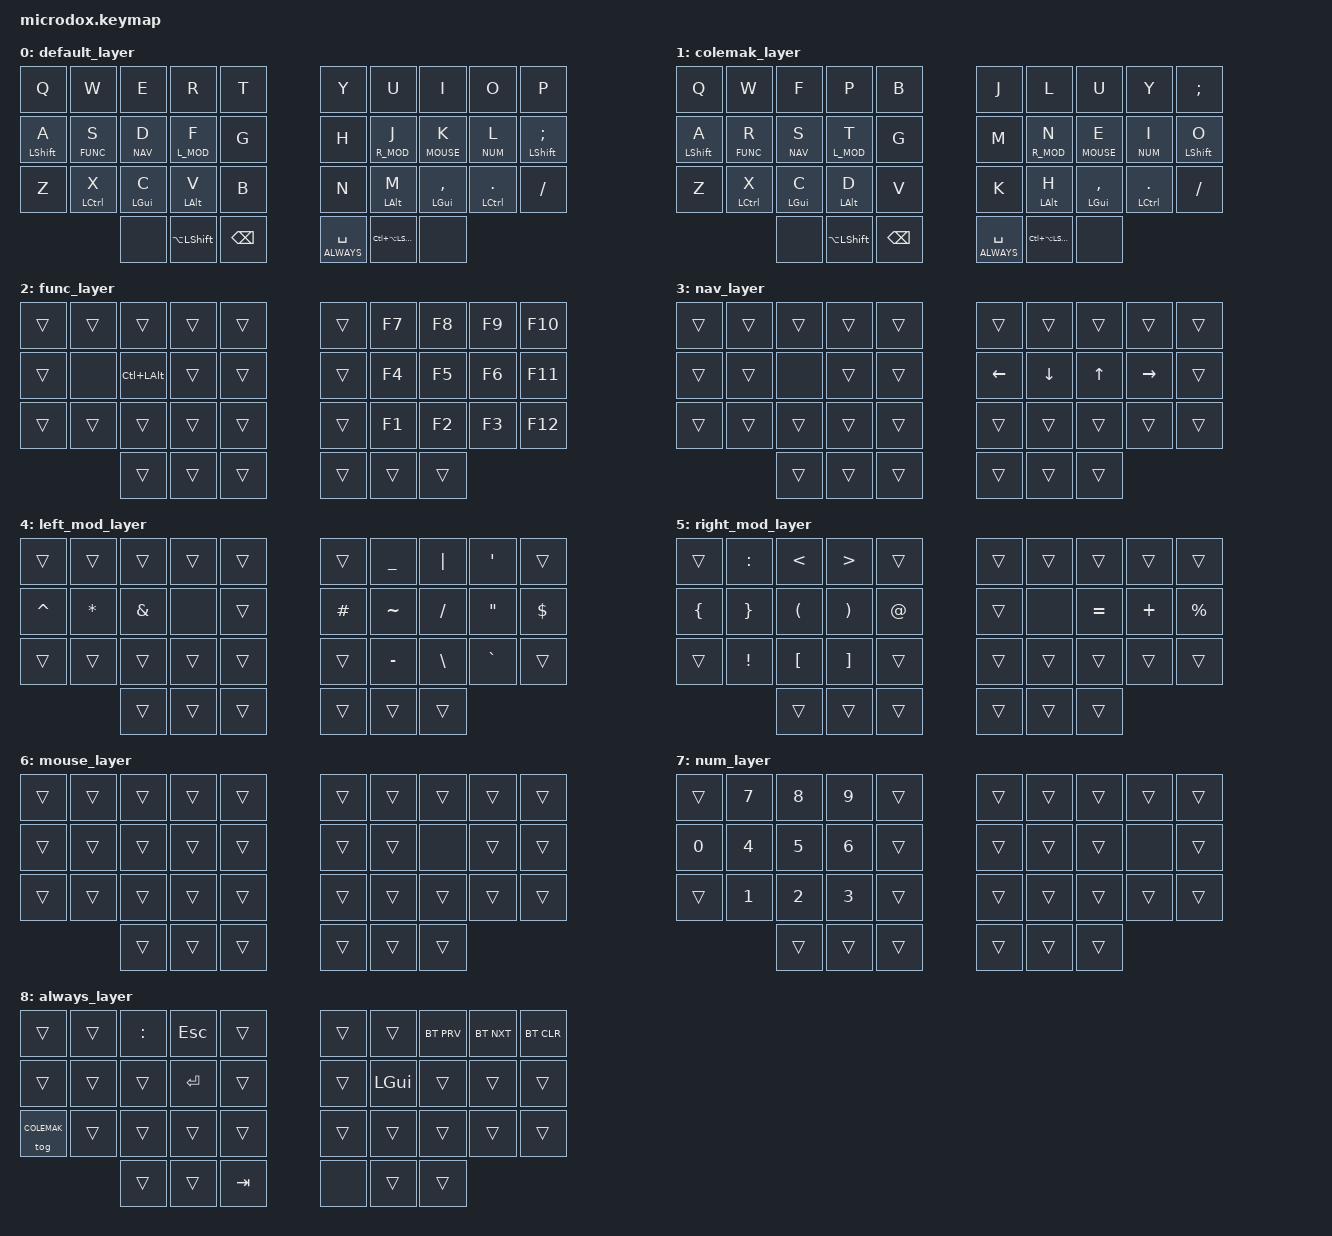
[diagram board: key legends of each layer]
/*
 * Copyright (c) 2021 The ZMK Contributors
 *
 * SPDX-License-Identifier: MIT
 */

#include <behaviors.dtsi>
#include <dt-bindings/zmk/keys.h>
#include <dt-bindings/zmk/bt.h>

#define DEFAULT 0
#define COLEMAK 1
#define FUNC 2
#define NAV 3
#define L_MOD 4
#define R_MOD 5
#define MOUSE 6
#define NUM 7
#define ALWAYS 8

/ {
  behaviors {
    hm: homerow_mods {
      compatible = "zmk,behavior-hold-tap";
      label = "HOMEROW_MODS";
      #binding-cells = <2>;
      tapping-term-ms = <150>;
      quick_tap_ms = <0>;
      flavor = "tap-preferred";
      bindings = <&kp>, <&kp>;
    };
  };

	keymap {
    compatible = "zmk,keymap";

    default_layer {
      bindings = <
        &kp Q &kp W &kp E &kp R &kp T &kp Y &kp U &kp I &kp O &kp P
        &hm LSHIFT A &lt FUNC S &lt NAV D &lt L_MOD F &kp G &kp H &lt R_MOD J &lt MOUSE K &lt NUM L &hm LSHIFT SEMI
        &kp Z &hm LCTRL X &hm LGUI C &hm LALT V &kp B &kp N &hm LALT M &hm LGUI COMMA &hm LCTRL PERIOD &kp SLASH
        &none &kp LA(LSHIFT) &kp BACKSPACE &lt ALWAYS SPACE &kp LC(LA(LSHIFT)) &none
        >;
    };

    colemak_layer {
      bindings = <
        &kp Q &kp W &kp F &kp P &kp B &kp J &kp L &kp U &kp Y &kp SEMI
        &hm LSHIFT A &lt FUNC R &lt NAV S &lt L_MOD T &kp G &kp M &lt R_MOD N &lt MOUSE E &lt NUM I &hm LSHIFT O
        &kp Z &hm LCTRL X &hm LGUI C &hm LALT D &kp V &kp K &hm LALT H &hm LGUI COMMA &hm LCTRL DOT &kp SLASH
        &none &kp LA(LSHIFT) &kp BACKSPACE &lt ALWAYS SPACE &kp LC(LA(LSHIFT)) &none
        >;
    };

    func_layer {
      bindings = <
        &trans &trans &trans &trans &trans &trans &kp F7 &kp F8 &kp F9 &kp F10  
        &trans &none &kp LC(LALT) &trans &trans &trans &kp F4 &kp F5 &kp F6 &kp F11
        &trans &trans &trans &trans &trans &trans &kp F1 &kp F2 &kp F3 &kp F12  
        &trans &trans &trans &trans &trans &trans
        >;
    };

    nav_layer {
      bindings = <
        &trans &trans &trans &trans &trans &trans &trans &trans &trans &trans
        &trans &trans &none &trans &trans &kp LEFT &kp DOWN &kp UP &kp RIGHT &trans
        &trans &trans &trans &trans &trans &trans &trans &trans &trans &trans
        &trans &trans &trans &trans &trans &trans
        >;
    };

    left_mod_layer {
      bindings = <
        &trans &trans &trans &trans &trans &trans &kp UNDER &kp PIPE &kp SQT &trans
        &kp CARET &kp STAR &kp AMPS &none &trans &kp HASH &kp TILDE &kp SLASH &kp DQT &kp DOLLAR
        &trans &trans &trans &trans &trans &trans &kp MINUS &kp BSLH &kp GRAVE &trans
        &trans &trans &trans &trans &trans &trans
        >;
    };

    right_mod_layer {
      bindings = <
        &trans &kp COLON &kp LT &kp GT &trans &trans &trans &trans &trans &trans
        &kp LBRC &kp RBRC &kp LPAR &kp RPAR &kp AT &trans &none &kp EQUAL &kp PLUS &kp PERCENT
        &trans &kp EXCL &kp LBKT &kp RBKT &trans &trans &trans &trans &trans &trans
        &trans &trans &trans &trans &trans &trans
        >;
    };

    mouse_layer {
      bindings = <
        &trans &trans &trans &trans &trans &trans &trans &trans &trans &trans
        &trans &trans &trans &trans &trans &trans &trans &none &trans &trans
        &trans &trans &trans &trans &trans &trans &trans &trans &trans &trans
        &trans &trans &trans &trans &trans &trans
        >;
    };

    num_layer {
      bindings = <
        &trans &kp N7 &kp N8 &kp N9 &trans &trans &trans &trans &trans &trans
        &kp N0 &kp N4 &kp N5 &kp N6 &trans &trans &trans &trans &none &trans
        &trans &kp N1 &kp N2 &kp N3 &trans &trans &trans &trans &trans &trans
        &trans &trans &trans &trans &trans &trans
        >;
    };

    always_layer {
      bindings = <
        &trans &trans &kp COLON &kp ESCAPE &trans &trans &trans &bt BT_PRV &bt BT_NXT &bt BT_CLR
        &trans &trans &trans &kp ENTER &trans &trans &kp LGUI &trans &trans &trans
        &tog COLEMAK &trans &trans &trans &trans &trans &trans &trans &trans &trans
        &trans &trans &kp TAB &none &trans &trans
        >;
    };
  };
};
